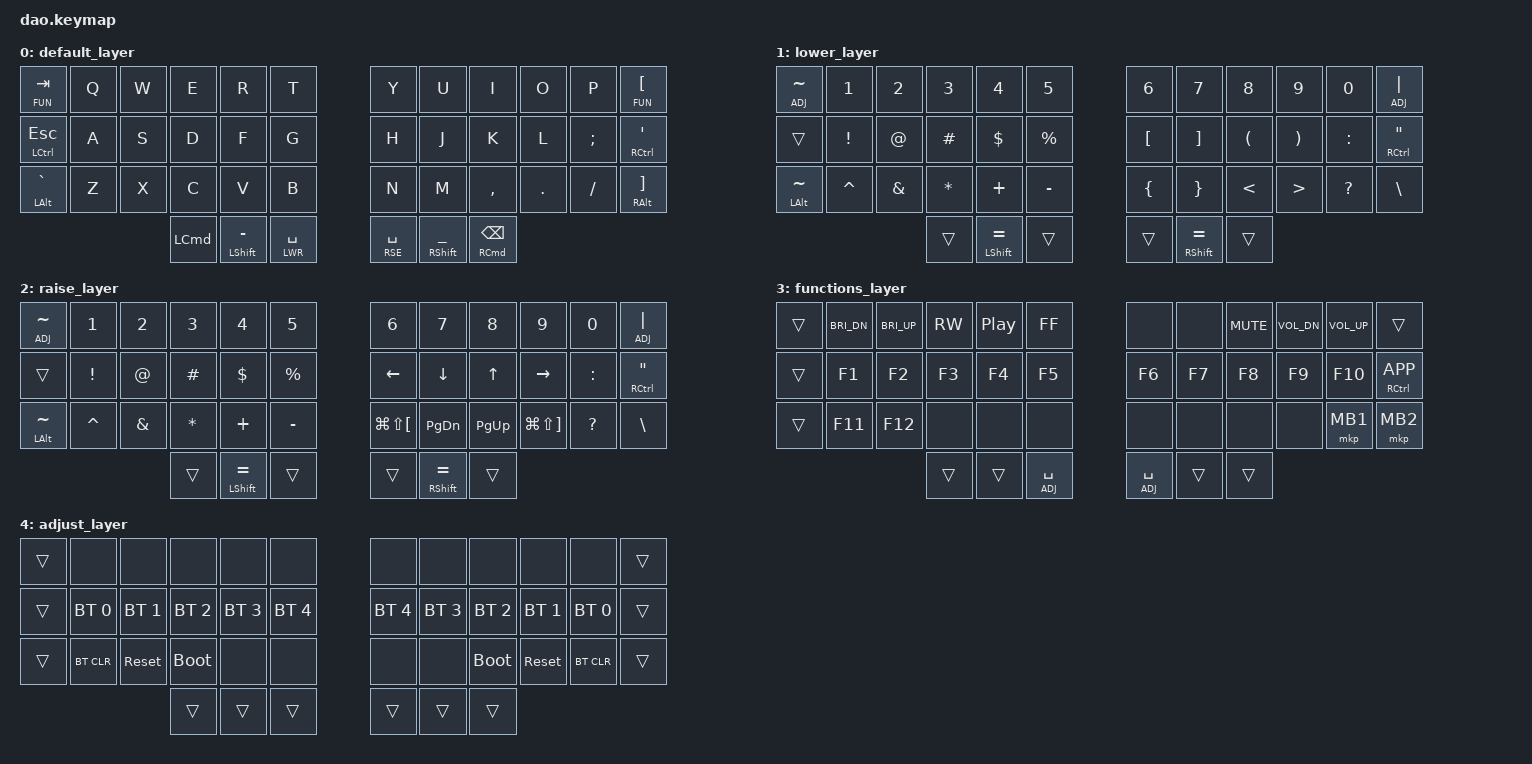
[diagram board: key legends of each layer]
/*
 * Copyright (c) 2021 Rafael Yumagulov
 *
 * SPDX-License-Identifier: MIT
 */

#include <behaviors.dtsi>
#include <dt-bindings/zmk/keys.h>
#include <dt-bindings/zmk/bt.h>
#include <dt-bindings/zmk/mouse.h>

// #include "42.h"
// #define KEYS_L LT0 LT1 LT2 LT3 LT4 LM0 LM1 LM2 LM3 LM4 LB0 LB1 LB2 LB3 LB4  // left hand
// #define KEYS_R RT0 RT1 RT2 RT3 RT4 RM0 RM1 RM2 RM3 RM4 RB0 RB1 RB2 RB3 RB4  // right hand
// #define THUMBS LH2 LH1 LH0 RH0 RH1 RH2                                      // thumbs

#define DEF 0
#define LWR 1
#define RSE 2
#define FUN 3
#define ADJ 4

&mt {
	flavor = "hold-preferred";
	tapping-term-ms = <200>;
	quick_tap_ms = <150>;
	require-prior-idle-ms = <125>;
};

/ {
    chosen {
        zmk,matrix_transform = &default_transform;
        // zmk,matrix_transform = &extra_keys_transform;
    };
};

/ {
    combos {
        compatible = "zmk,combos";

        combo_ENTER {
            bindings = <&kp ENTER>;
            key-positions = <22 23>;
        };
    };
};

/ {
    keymap {
        compatible = "zmk,keymap";

        default_layer {
            bindings = <
  &lt FUN TAB     &kp Q  &kp W  &kp E     &kp R             &kp T            &kp Y          &kp U             &kp I          &kp O    &kp P     &lt FUN LBKT
  &mt LCTRL ESC   &kp A  &kp S  &kp D     &kp F             &kp G            &kp H          &kp J             &kp K          &kp L    &kp SEMI  &mt RCTRL SQT
  &mt LALT GRAVE  &kp Z  &kp X  &kp C     &kp V             &kp B            &kp N          &kp M             &kp COMMA      &kp DOT  &kp FSLH  &mt RALT RBKT
                                &kp LCMD  &mt LSHIFT MINUS  &lt LWR SPACE    &lt RSE SPACE  &mt RSHIFT UNDER  &mt RCMD BSPC
            >;
        };

        lower_layer {
            bindings = <
  &lt ADJ TILDE   &kp N1     &kp N2    &kp N3    &kp N4           &kp N5       &kp N6    &kp N7           &kp N8    &kp N9    &kp N0     &lt ADJ PIPE
  &trans          &kp EXCL   &kp AT    &kp HASH  &kp DLLR         &kp PRCNT    &kp LBKT  &kp RBKT         &kp LPAR  &kp RPAR  &kp COLON  &mt RCTRL DQT
  &mt LALT TILDE  &kp CARET  &kp AMPS  &kp STAR  &kp PLUS         &kp MINUS    &kp LBRC  &kp RBRC         &kp LT    &kp GT    &kp QMARK  &kp BSLH
                                       &trans    &mt LSHFT EQUAL  &trans       &trans    &mt RSHFT EQUAL  &trans
            >;
        };

        raise_layer {
            bindings = <
  &lt ADJ TILDE   &kp N1     &kp N2    &kp N3    &kp N4           &kp N5       &kp N6            &kp N7           &kp N8     &kp N9            &kp N0     &lt ADJ PIPE
  &trans          &kp EXCL   &kp AT    &kp HASH  &kp DLLR         &kp PRCNT    &kp LEFT          &kp DOWN         &kp UP     &kp RIGHT         &kp COLON  &mt RCTRL DQT
  &mt LALT TILDE  &kp CARET  &kp AMPS  &kp STAR  &kp PLUS         &kp MINUS    &kp LG(LS(LBKT))  &kp PG_DN        &kp PG_UP  &kp LG(LS(RBKT))  &kp QMARK  &kp BSLH
                                       &trans    &mt LSHFT EQUAL  &trans       &trans            &mt RSHFT EQUAL  &trans
            >;
        };

        functions_layer {
            bindings = <
  &trans  &kp C_BRI_DN  &kp C_BRI_UP  &kp C_RW  &kp C_PP  &kp C_FF         &none          &none   &kp C_MUTE  &kp C_VOL_DN  &kp C_VOL_UP  &trans
  &trans  &kp F1        &kp F2        &kp F3    &kp F4    &kp F5           &kp F6         &kp F7  &kp F8      &kp F9        &kp F10       &mt RCTRL K_APP
  &trans  &kp F11       &kp F12       &none     &none     &none            &none          &none   &none       &none         &mkp MB1      &mkp MB2
                                      &trans    &trans    &lt ADJ SPACE    &lt ADJ SPACE  &trans  &trans
            >;
        };

        adjust_layer {
            bindings = <
  &trans  &none         &none         &none         &none         &none           &none         &none         &none         &none         &none         &trans
  &trans  &bt BT_SEL 0  &bt BT_SEL 1  &bt BT_SEL 2  &bt BT_SEL 3  &bt BT_SEL 4    &bt BT_SEL 4  &bt BT_SEL 3  &bt BT_SEL 2  &bt BT_SEL 1  &bt BT_SEL 0  &trans
  &trans  &bt BT_CLR    &sys_reset    &bootloader   &none         &none           &none         &none         &bootloader   &sys_reset    &bt BT_CLR    &trans
                                      &trans        &trans        &trans          &trans        &trans        &trans
            >;
        };
    };
};

